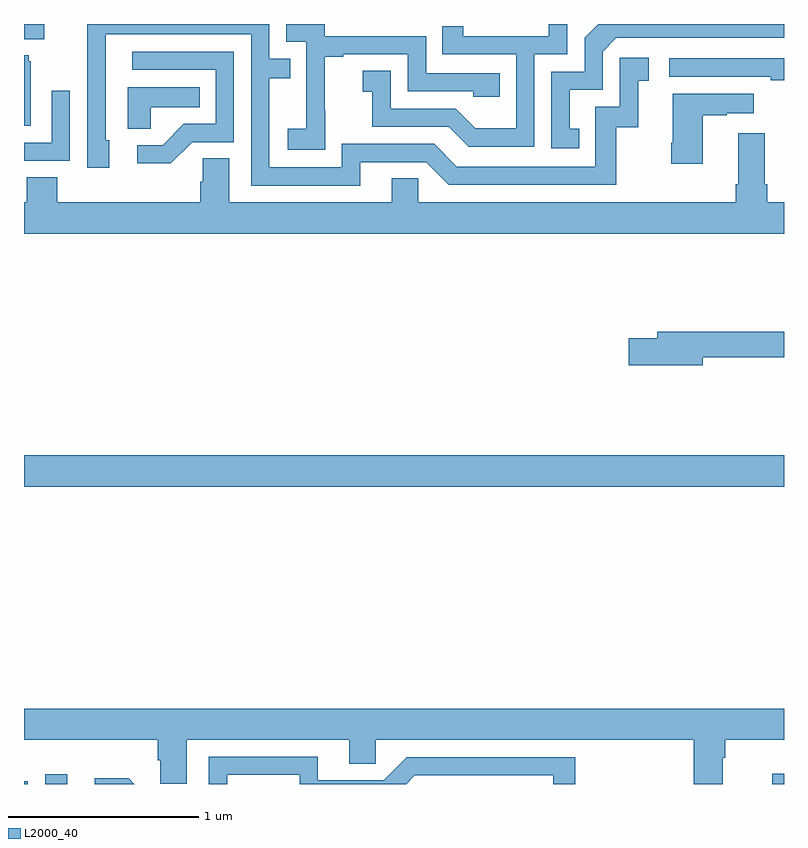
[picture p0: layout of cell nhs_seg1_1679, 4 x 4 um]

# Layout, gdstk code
import gdstk
lib = gdstk.Library(unit=1e-6, precision=1e-09)
def R(c, l, rs):  # rectangles x0, y0, x1, y1
    for r in rs: c.add(gdstk.rectangle(r[:2], r[2:], *l))
def P(c, l, *ps):  # polygons
    for p in ps: c.add(gdstk.Polygon(p, *l))
L2000_40 = (2000, 40)

nhs_seg1_1679 = lib.new_cell('nhs_seg1_1679')
R(nhs_seg1_1679, L2000_40, [(203,518.199,203.019,518.214), (203.112,518.199,203.227,518.251), (206.938,518.199,207,518.254), (203,519.764,207,519.928), (203,522.119,203.107,522.199)])
P(nhs_seg1_1679, L2000_40, [(204.585,521.743),(204.584,521.743),(204.584,522.027),(204.679,522.027),(204.679,522.039),(205.02,522.039),(205.02,521.844),(205.365,521.844),(205.365,521.817),(205.505,521.817),(205.505,521.94),(205.116,521.94),(205.116,522.135),(204.582,522.135),(204.582,522.199),(204.381,522.199),(204.381,522.105),(204.486,522.105),(204.486,521.876),(204.485,521.876),(204.485,521.647),(204.387,521.647),(204.387,521.537),(204.585,521.537)],
  [(204.769,521.472),(205.116,521.472),(205.236,521.352),(206.116,521.352),(206.116,521.655),(206.234,521.655),(206.234,521.901),(206.287,521.901),(206.287,522.022),(206.136,522.022),(206.136,521.763),(206.007,521.763),(206.007,521.448),(205.278,521.448),(205.158,521.568),(204.672,521.568),(204.672,521.445),(204.291,521.445),(204.291,521.914),(204.401,521.914),(204.401,522.015),(204.291,522.015),(204.291,522.199),(203.332,522.199),(203.332,521.935),(203.334,521.935),(203.334,521.442),(203.449,521.442),(203.449,521.586),(203.43,521.586),(203.43,522.144),(204.195,522.144),(204.195,521.349),(204.769,521.349)],
  [(205.686,522.039),(205.86,522.039),(205.86,522.199),(205.763,522.199),(205.763,522.135),(205.312,522.135),(205.312,522.187),(205.201,522.187),(205.201,522.039),(205.59,522.039),(205.59,521.65),(205.376,521.65),(205.272,521.754),(204.93,521.754),(204.93,521.953),(204.783,521.953),(204.783,521.843),(204.832,521.843),(204.832,521.658),(205.235,521.658),(205.34,521.553),(205.686,521.553)],
  [(205.922,521.649),(205.873,521.649),(205.873,521.853),(206.046,521.853),(206.046,522.054),(206.118,522.126),(207,522.126),(207,522.199),(206.023,522.199),(205.95,522.126),(205.95,521.949),(205.776,521.949),(205.776,521.544),(205.922,521.544)],
  [(203.886,521.577),(204.105,521.577),(204.105,522.054),(203.571,522.054),(203.571,521.958),(204.009,521.958),(204.009,521.673),(203.84,521.673),(203.729,521.562),(203.595,521.562),(203.595,521.465),(203.773,521.465)],
  [(203.035,522.003),(203.024,522.003),(203.024,522.034),(203,522.034),(203,521.663),(203.035,521.663)],
  [(207,522.018),(206.397,522.018),(206.397,521.922),(206.929,521.922),(206.929,521.902),(207,521.902)],
  [(203.667,521.762),(203.924,521.762),(203.924,521.866),(203.546,521.866),(203.546,521.647),(203.667,521.647)],
  [(203.241,521.847),(203.145,521.847),(203.145,521.574),(203,521.574),(203,521.478),(203.241,521.478)],
  [(206.572,521.719),(206.699,521.719),(206.699,521.729),(206.842,521.729),(206.842,521.833),(206.414,521.833),(206.414,521.575),(206.407,521.575),(206.407,521.463),(206.572,521.463)],
  [(207,521.26),(206.912,521.26),(206.912,521.356),(206.899,521.356),(206.899,521.623),(206.759,521.623),(206.759,521.356),(206.747,521.356),(206.747,521.26),(205.074,521.26),(205.074,521.387),(204.935,521.387),(204.935,521.26),(204.079,521.26),(204.079,521.492),(203.94,521.492),(203.94,521.369),(203.927,521.369),(203.927,521.26),(203.174,521.26),(203.174,521.393),(203.014,521.393),(203.014,521.26),(203,521.26),(203,521.096),(207,521.096)],
  [(206.572,520.444),(207,520.444),(207,520.58),(206.333,520.58),(206.333,520.544),(206.184,520.544),(206.184,520.402),(206.572,520.402)],
  [(206.677,518.336),(206.69,518.336),(206.69,518.432),(207,518.432),(207,518.596),(203,518.596),(203,518.432),(203.705,518.432),(203.705,518.323),(203.718,518.323),(203.718,518.2),(203.857,518.2),(203.857,518.432),(204.713,518.432),(204.713,518.305),(204.852,518.305),(204.852,518.432),(206.525,518.432),(206.525,518.199),(206.677,518.199)],
  [(204.069,518.247),(204.45,518.247),(204.45,518.199),(205.011,518.199),(205.056,518.244),(205.785,518.244),(205.785,518.199),(205.901,518.199),(205.901,518.34),(205.014,518.34),(204.894,518.22),(204.547,518.22),(204.547,518.343),(203.973,518.343),(203.973,518.199),(204.069,518.199)],
  [(203.551,518.228),(203.373,518.228),(203.373,518.199),(203.58,518.199)])

lib.write_gds('nhs_seg1_1679.gds')
